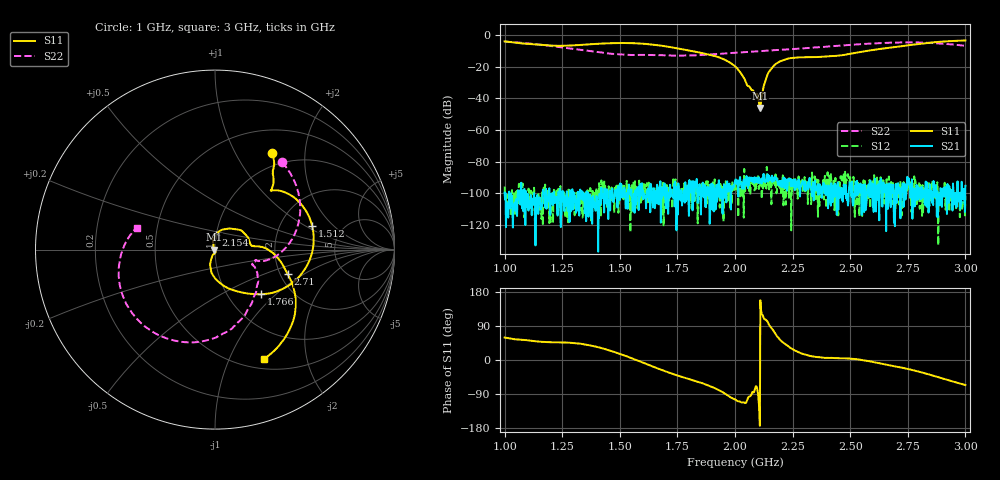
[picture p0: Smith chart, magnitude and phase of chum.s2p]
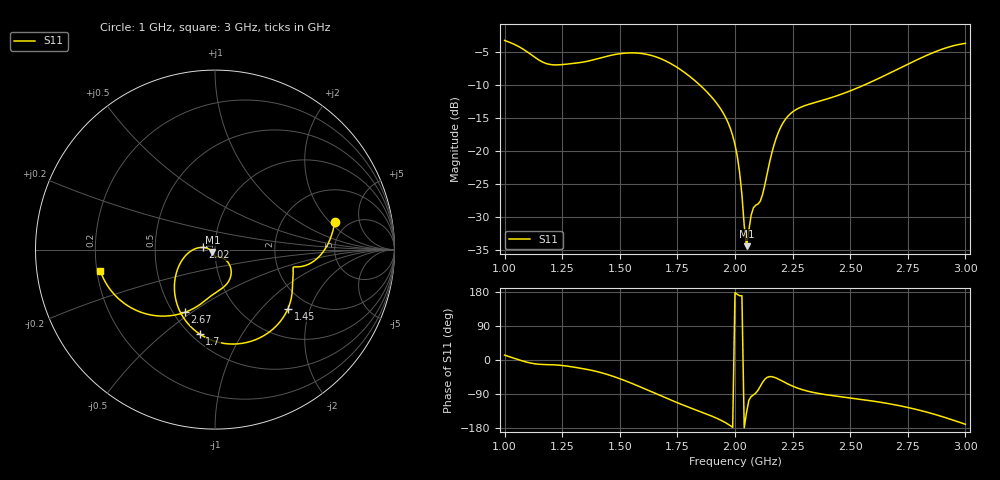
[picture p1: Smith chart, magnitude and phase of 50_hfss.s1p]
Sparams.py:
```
#!/usr/bin/env python2
# -*- coding: utf-8 -*-

from SetupPlots import SetupPlots
import numpy as np
from matplotlib import pyplot as plt

def run():
    SetupPlots()
    kw = {'comments': ['#', '!']}
    meas = np.loadtxt("data/chum.s2p", **kw)
    meas_freq = meas[:, 0]
    meas_s11 = 10*np.log10(meas[:, 1]**2 + meas[:, 2]**2)

    calc = np.loadtxt("data/50_hfss.s1p", **kw)
    calc_freq = calc[:, 0]
    calc_s11  = 10*np.log10(calc[:, 1]**2)

    plt.plot(calc_freq, calc_s11, label = 'Calculated')
    plt.plot(meas_freq, meas_s11, label = 'Measured')
    plt.ylim([-50, 0])
    plt.xlim([1, 3])
    plt.xticks([1.0, 1.5, 2.0, 2.5, 3.0])
    plt.grid(True)
    plt.legend()
    plt.xlabel('Frequency, GHz')
    plt.ylabel('Return loss $S_{11}, dB')
    plt.gcf().set_size_inches([3.5, 3])
    plt.tight_layout()
    plt.savefig("../images/Sparam.pdf")
    plt.close()
    
    fmin, fmax = tuple(meas_freq[np.where(meas_s11 < -20)[0][[0,-1]]])
    print "Measured:   F_c = {:4.2f}GHz, bw = ±{:4.2f}%".format(0.5*(fmin+fmax), 100*(fmax - fmin)/(fmax + fmin))

    fmin, fmax = tuple(calc_freq[np.where(calc_s11 < -20)[0][[0,-1]]])
    print "Calculated: F_c = {:4.2f}GHz, bw = ±{:4.2f}%".format(0.5*(fmin+fmax), 100*(fmax - fmin)/(fmax + fmin))

if __name__ == "__main__":
    run()
```
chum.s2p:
! 10/27/2017 2:35:30 PM
! C:\DOCUMENTS AND SETTINGS\VECTORSTARUSER\DESKTOP\CHUM.S2P
! CHANNEL.1
! TR.MEASUREMENT
! CORRECTED.DATA
# GHZ S RI R 50.0
! FREQ.GHZ  S11RE  S11IM  S21RE  S21IM  S12RE  S12IM  S22RE  S22IM
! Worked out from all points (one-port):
!   1001 points, 1 GHz to 3 GHz, reference 50 ohm
!   lowest |S11| = -46.1 dB at 2.108 GHz (marker M1), VSWR 1.01, Z = 49.5 - j0.054 ohm
!   |S11| at or under -10 dB: 1.806 GHz to 2.576 GHz (770.6 MHz wide, 35.2 % of centre)
!   S11 on the Smith chart (normalised r, x): 1 GHz: 0.81, +1.43; 1.512 GHz: 3.02, +1.17; 1.766 GHz: 1.42, -0.81; 2.154 GHz: 0.99, +0.16; 2.71 GHz: 2.19, -0.74; 3 GHz: 0.61, -1.35
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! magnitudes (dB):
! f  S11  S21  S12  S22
! 1 GHz  -4.0  -99.7  -95.9  -4.2
! 1.512 GHz  -5.1  -101.3  -96.1  -12.4
! 1.766 GHz  -8.9  -98.0  -96.7  -13.0
! 1.922 GHz  -13.8  -105.4  -99.1  -12.1
! 2 GHz  -19.8  -92.4  -92.3  -11.3
! 2.108 GHz  -46.1  -93.5  -95.5  -10.3
! 2.134 GHz  -28.0  -93.0  -94.5  -10.0
! 2.154 GHz  -22.0  -90.5  -94.3  -9.8
! 2.236 GHz  -14.7  -92.3  -90.6  -9.1
! 2.71 GHz  -7.4  -100.0  -96.1  -4.8
! 3 GHz  -3.5  -95.3  -102.1  -6.9
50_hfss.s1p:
! Touchstone file from project 50
! Exported from HFSS 2014.0.0
! Variables:
!  H_trim = 70mm
!  Hgnd = 10mm
!  Hh = 63mm
!  Lgnd = 1mm
!  N = 0.934827978339152
!  Nseg = 50
!  Rb = 9mm
!  Rg = 21.75mm
!  Rl = 25ohm
!  Rload = 23ohm
!  Rt = 7.2mm
!  alpha = 50deg
!  cap_h = 1mm
!  cut_r = 1.5mm
!  dh = 1mm
!  dz = 0.1mm
!  handness = -1
!  hd = 2mm
!  hd_int = 1mm
!  l23 = 3mm
!  lambda = 140mm
!  w = 0.836660026534076mm
!  w23 = 1mm
# GHZ S MA R 50.000000
! Terminal data exported
! Port[1] = p1
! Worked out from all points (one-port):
!   201 points, 1 GHz to 3 GHz, reference 50 ohm
!   lowest |S11| = -34.4 dB at 2.05 GHz (marker M1), VSWR 1.04, Z = 48.6 - j1.22 ohm
!   |S11| at or under -10 dB: 1.846 GHz to 2.563 GHz (716.3 MHz wide, 32.5 % of centre)
!   S11 on the Smith chart (normalised r, x): 1 GHz: 3.97, +2.27; 1.45 GHz: 1.58, -1.43; 1.7 GHz: 0.55, -0.67; 2.02 GHz: 0.87, +0.02; 2.67 GHz: 0.57, -0.47; 3 GHz: 0.21, -0.09
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1  0.6841 12.9
1.2  0.4498 -12.4
1.45  0.523 -38.9
1.67  0.5045 -92.3
1.7  0.4785 -100.2
1.94  0.2053 -159.2
2.02  0.06915 169.6
2.05  0.01914 -138.9
2.07  0.03278 -96.4
2.2  0.1536 -53.9
2.34  0.2308 -85.6
2.67  0.3866 -115.5
2.85  0.5445 -140.5
3  0.6504 -169.6
